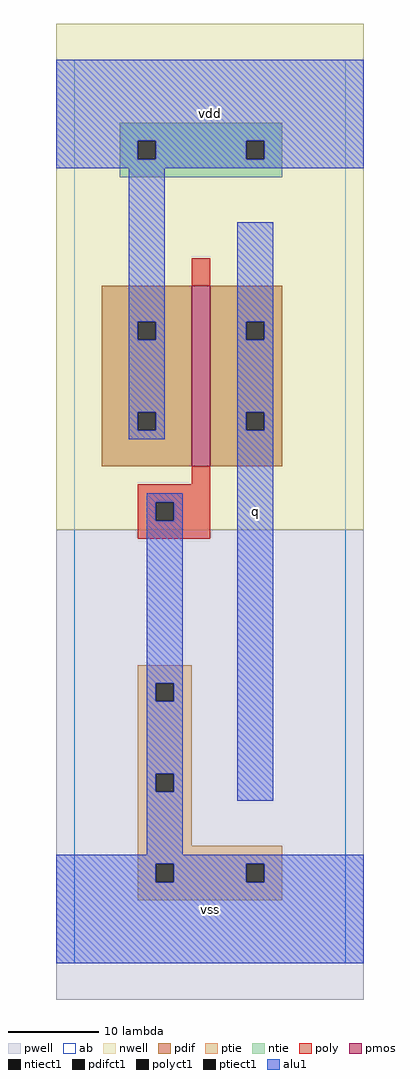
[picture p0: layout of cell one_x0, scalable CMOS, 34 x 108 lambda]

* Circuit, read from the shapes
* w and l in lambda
.subckt one_x0 q vdd vss
M1 q vss vdd vdd pfet w=20 l=2
.ends

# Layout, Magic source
magic
tech scmos
<< ab >>
rect 0 0 30 100
<< nwell >>
rect -2 48 32 104
<< pwell >>
rect -2 -4 32 48
<< poly >>
rect 13 75 15 78
rect 13 53 15 55
rect 7 51 15 53
rect 7 49 9 51
rect 11 49 15 51
rect 7 47 15 49
<< pdif >>
rect 3 71 13 75
rect 3 69 7 71
rect 9 69 13 71
rect 3 61 13 69
rect 3 59 7 61
rect 9 59 13 61
rect 3 55 13 59
rect 15 71 23 75
rect 15 69 19 71
rect 21 69 23 71
rect 15 61 23 69
rect 15 59 19 61
rect 21 59 23 61
rect 15 55 23 59
<< alu1 >>
rect -2 91 32 100
rect -2 89 7 91
rect 9 89 19 91
rect 21 89 32 91
rect -2 88 32 89
rect 6 71 10 88
rect 6 69 7 71
rect 9 69 10 71
rect 6 61 10 69
rect 6 59 7 61
rect 9 59 10 61
rect 6 58 10 59
rect 18 71 22 82
rect 18 69 19 71
rect 21 69 22 71
rect 18 61 22 69
rect 18 59 19 61
rect 21 59 22 61
rect 8 51 12 52
rect 8 49 9 51
rect 11 49 12 51
rect 8 31 12 49
rect 8 29 9 31
rect 11 29 12 31
rect 8 21 12 29
rect 8 19 9 21
rect 11 19 12 21
rect 8 12 12 19
rect 18 18 22 59
rect -2 11 32 12
rect -2 9 9 11
rect 11 9 19 11
rect 21 9 32 11
rect -2 0 32 9
<< ptie >>
rect 7 31 13 33
rect 7 29 9 31
rect 11 29 13 31
rect 7 21 13 29
rect 7 19 9 21
rect 11 19 13 21
rect 7 13 13 19
rect 7 11 23 13
rect 7 9 9 11
rect 11 9 19 11
rect 21 9 23 11
rect 7 7 23 9
<< ntie >>
rect 5 91 23 93
rect 5 89 7 91
rect 9 89 19 91
rect 21 89 23 91
rect 5 87 23 89
<< pmos >>
rect 13 55 15 75
<< polyct1 >>
rect 9 49 11 51
<< ntiect1 >>
rect 7 89 9 91
rect 19 89 21 91
<< ptiect1 >>
rect 9 29 11 31
rect 9 19 11 21
rect 9 9 11 11
rect 19 9 21 11
<< pdifct1 >>
rect 7 69 9 71
rect 7 59 9 61
rect 19 69 21 71
rect 19 59 21 61
<< labels >>
rlabel alu1 15 6 15 6 6 vss
rlabel alu1 20 50 20 50 6 q
rlabel alu1 15 94 15 94 6 vdd
<< end >>
